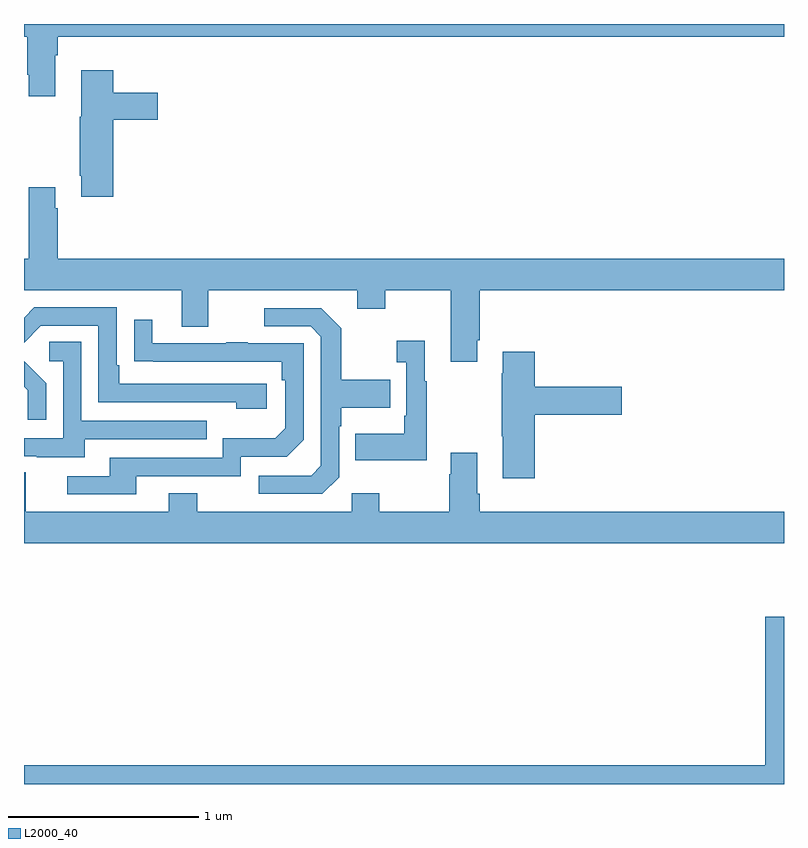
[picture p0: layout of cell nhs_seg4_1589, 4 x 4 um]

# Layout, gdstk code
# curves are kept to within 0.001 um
import gdstk
lib = gdstk.Library(unit=1e-6, precision=1e-09)
def P(c, l, *ps):  # polygons
    for p in ps: c.add(gdstk.Polygon(p, *l))
L2000_40 = (2000, 40)

nhs_seg4_1589 = lib.new_cell('nhs_seg4_1589')
P(nhs_seg4_1589, L2000_40, [(193.165,784.736),(193.178,784.736),(193.178,784.832),(197,784.832),(197,784.9),(193,784.9),(193,784.832),(193.018,784.832),(193.018,784.633),(193.025,784.633),(193.025,784.521),(193.165,784.521)],
  [(193.469,784.397),(193.705,784.397),(193.705,784.539),(193.469,784.539),(193.469,784.657),(193.301,784.657),(193.301,784.413),(193.294,784.413),(193.294,784.102),(193.301,784.102),(193.301,783.99),(193.469,783.99)],
  [(195.385,783.235),(195.398,783.235),(195.398,783.5),(197,783.5),(197,783.664),(193.178,783.664),(193.178,783.929),(193.165,783.929),(193.165,784.042),(193.025,784.042),(193.025,783.664),(193,783.664),(193,783.5),(193.829,783.5),(193.829,783.306),(193.969,783.306),(193.969,783.5),(194.753,783.5),(194.753,783.401),(194.901,783.401),(194.901,783.5),(195.245,783.5),(195.245,783.123),(195.385,783.123)],
  [(194.278,783.006),(193.501,783.006),(193.501,783.103),(193.488,783.103),(193.488,783.408),(193.053,783.408),(193,783.355),(193,783.223),(193.089,783.312),(193.392,783.312),(193.392,782.91),(194.117,782.91),(194.117,782.876),(194.278,782.876)],
  [(194.658,782.514),(194.658,782.783),(194.671,782.783),(194.671,782.879),(194.927,782.879),(194.927,783.027),(194.671,783.027),(194.671,783.299),(194.565,783.405),(194.265,783.405),(194.265,783.309),(194.508,783.309),(194.562,783.255),(194.562,782.574),(194.511,782.523),(194.235,782.523),(194.235,782.427),(194.571,782.427)],
  [(193.591,782.52),(194.142,782.52),(194.142,782.622),(194.382,782.622),(194.472,782.712),(194.472,783.219),(194.177,783.219),(194.177,783.224),(194.065,783.224),(194.065,783.219),(193.675,783.219),(193.675,783.343),(193.579,783.343),(193.579,783.124),(194.356,783.123),(194.356,783.026),(194.376,783.026),(194.376,782.772),(194.323,782.719),(194.046,782.719),(194.046,782.616),(193.451,782.616),(193.451,782.52),(193.227,782.52),(193.227,782.424),(193.591,782.424)],
  [(195.121,783.019),(195.109,783.019),(195.109,783.232),(194.961,783.232),(194.961,783.119),(195.012,783.119),(195.012,782.839),(195,782.839),(195,782.743),(194.743,782.743),(194.743,782.603),(195.121,782.603)],
  [(193.321,782.715),(193.961,782.715),(193.961,782.811),(193.302,782.811),(193.302,783.227),(193.134,783.227),(193.134,783.126),(193.206,783.126),(193.206,782.721),(193,782.721),(193,782.625),(193.067,782.625),(193.067,782.621),(193.321,782.621)],
  [(195.689,782.843),(196.147,782.843),(196.147,782.99),(195.689,782.99),(195.689,783.175),(195.521,783.175),(195.521,783.062),(195.514,783.062),(195.514,782.731),(195.521,782.731),(195.521,782.508),(195.689,782.508)],
  [(193.116,783.01),(193,783.126),(193,782.992),(193.019,782.973),(193.019,782.817),(193.116,782.817)],
  [(197,782.332),(195.398,782.332),(195.398,782.428),(195.385,782.428),(195.385,782.644),(195.245,782.644),(195.245,782.531),(195.238,782.531),(195.238,782.332),(194.871,782.332),(194.871,782.431),(194.724,782.431),(194.724,782.332),(193.911,782.332),(193.911,782.431),(193.763,782.431),(193.763,782.332),(193.009,782.332),(193.009,782.54),(193,782.54),(193,782.168),(197,782.168)],
  [(197,781.78),(196.901,781.78),(196.901,781),(193,781),(193,780.9),(197,780.9)])

lib.write_gds('nhs_seg4_1589.gds')
